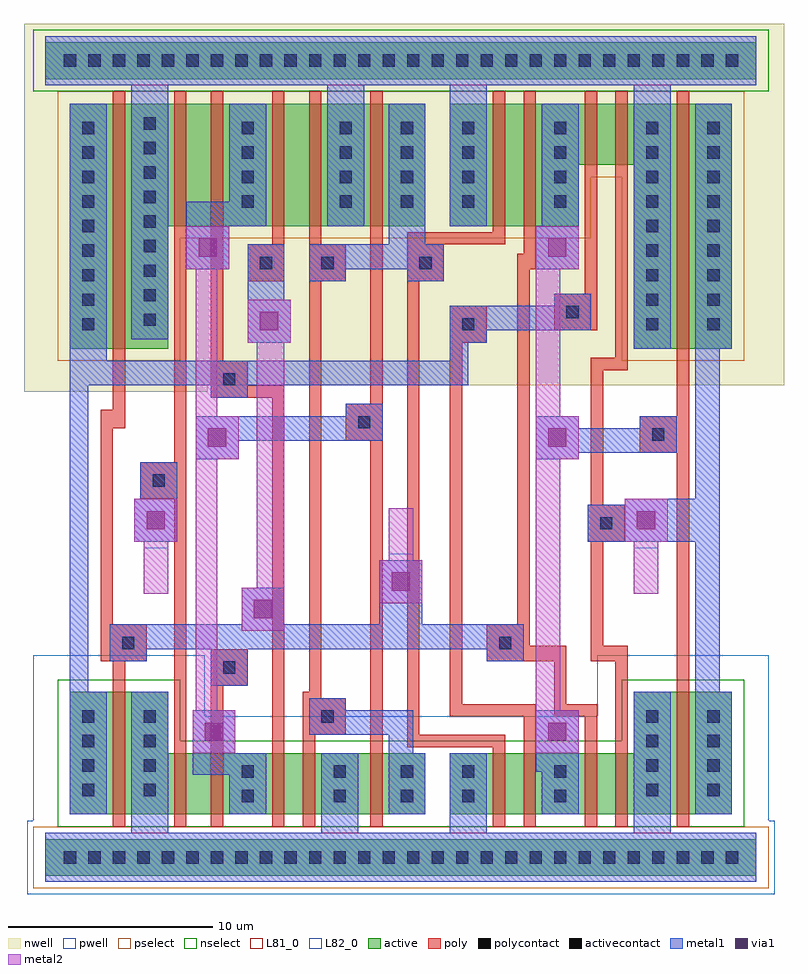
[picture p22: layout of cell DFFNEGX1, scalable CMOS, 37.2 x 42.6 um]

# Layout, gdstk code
import gdstk
lib = gdstk.Library(unit=1e-6, precision=1e-09)
def R(c, l, rs):  # rectangles x0, y0, x1, y1
    for r in rs: c.add(gdstk.rectangle(r[:2], r[2:], *l))
def A(c, l, x, y, w, h, nx, ny, dx, dy):  # array of equal rectangles
    R(c, l, [(x+i*dx, y+j*dy, x+i*dx+w, y+j*dy+h) for i in range(nx) for j in range(ny)])
pwell = (41, 0)
nwell = (42, 0)
active = (43, 0)
pselect = (44, 0)
nselect = (45, 0)
poly = (46, 0)
polycontact = (47, 0)
activecontact = (48, 0)
metal1 = (49, 0)
via1 = (50, 0)
metal2 = (51, 0)
L81_0 = (81, 0)
L82_0 = (82, 0)

dffnegx1 = lib.new_cell('DFFNEGX1')
R(dffnegx1, pwell, [(-1.8,-1.8,34.8,1.8), (-1.5,1.8,34.5,6.9), (-1.5,6.9,6.9,9.9), (26.1,6.9,34.5,9.9)])
R(dffnegx1, nwell, [(-1.95,22.8,7.05,23.1), (-1.95,23.1,35.25,40.8)])
R(dffnegx1, active, [(-0.9,-0.9,33.9,0.9), (0.3,2.1,17.7,5.1), (18.9,2.1,32.7,5.1), (0.3,5.1,5.1,8.1), (27.9,5.1,32.7,8.1), (0.3,24.9,5.1,30.9), (27.9,24.9,32.7,33.9), (0.3,30.9,17.7,36.9), (18.9,30.9,25.2,33.9), (18.9,33.9,32.7,36.9), (-0.9,38.1,33.9,39.9)])
R(dffnegx1, pselect, [(-1.5,-1.5,34.5,1.5), (-0.3,24.3,5.7,30.3), (27.3,24.3,33.3,33.3), (-0.3,30.3,25.8,33.3), (-0.3,33.3,33.3,37.5)])
R(dffnegx1, nselect, [(-0.3,1.5,33.3,5.7), (-0.3,5.7,5.7,8.7), (27.3,5.7,33.3,8.7), (-1.5,37.5,34.5,40.5)])
R(dffnegx1, poly, [(2.4,1.5,3,9.6), (5.4,1.5,6,17.55), (7.2,1.5,7.8,8.4), (10.2,1.5,10.8,22.5), (11.7,1.5,12.3,6), (15,1.5,15.6,20.4), (21,1.5,21.6,5.4), (22.5,1.5,23.1,6.9), (25.5,1.5,26.1,6.9), (27,1.5,27.6,9.6), (30,1.5,30.6,19.8), (16.8,5.4,21.6,6), (11.7,6,13.8,7.8), (16.8,6,17.4,28.2), (18.9,6.9,23.1,7.5), (24,6.9,26.1,7.5), (18.9,7.5,19.5,25.2), (24,7.5,24.6,9.6), (11.7,7.8,12.6,8.1), (12,8.1,12.6,28.2), (7.2,8.4,9,10.2), (1.8,9.6,4.05,11.4), (20.7,9.6,24.6,10.35), (25.8,9.6,27.6,10.35), (20.7,10.35,22.8,11.4), (25.8,10.35,26.4,15.45), (1.8,11.4,2.4,21), (22.2,11.4,22.8,28.8), (25.65,15.45,27.45,17.25), (25.8,17.25,26.4,23.85), (3.75,17.55,6,19.35), (5.4,19.35,6,37.5), (28.2,19.8,30.6,21.6), (13.8,20.4,15.6,22.2), (1.8,21,3,21.9), (30,21.6,30.6,37.5), (2.4,21.9,3,37.5), (15,22.2,15.6,37.5), (7.2,22.5,10.8,23.1), (7.2,23.1,9,24.3), (25.8,23.85,27.6,24.45), (7.2,24.3,7.8,37.5), (27,24.45,27.6,37.5), (18.9,25.2,20.7,27), (24,25.8,26.1,27.6), (25.5,27.6,26.1,37.5), (9,28.2,10.8,30), (12,28.2,13.8,30), (16.8,28.2,18.6,30), (22.2,28.8,23.1,29.55), (22.5,29.55,23.1,37.5), (10.2,30,10.8,37.5), (12,30,12.6,37.5), (16.8,30,21.6,30.6), (21,30.6,21.6,37.5)])
R(dffnegx1, polycontact, [(12.6,6.6,13.2,7.2), (7.8,9,8.4,9.6), (2.85,10.2,3.45,10.8), (21.3,10.2,21.9,10.8), (26.25,16.05,26.85,16.65), (4.35,18.15,4.95,18.75), (28.8,20.4,29.4,21), (14.4,21,15,21.6), (7.8,23.1,8.4,23.7), (19.5,25.8,20.1,26.4), (24.6,26.4,25.2,27), (9.6,28.8,10.2,29.4), (12.6,28.8,13.2,29.4), (17.4,28.8,18,29.4)])
A(dffnegx1, activecontact, 0, -0.3, 0.6, 0.6, 28, 2, 1.2, 39)
A(dffnegx1, activecontact, 0.9, 3, 0.6, 0.6, 1, 4, 0, 1.2)
A(dffnegx1, activecontact, 3.9, 3, 0.6, 0.6, 1, 4, 0, 1.2)
A(dffnegx1, activecontact, 28.5, 3, 0.6, 0.6, 1, 4, 0, 1.2)
A(dffnegx1, activecontact, 31.5, 3, 0.6, 0.6, 1, 4, 0, 1.2)
A(dffnegx1, activecontact, 0.9, 25.8, 0.6, 0.6, 1, 9, 0, 1.2)
A(dffnegx1, activecontact, 28.5, 25.8, 0.6, 0.6, 1, 9, 0, 1.2)
A(dffnegx1, activecontact, 31.5, 25.8, 0.6, 0.6, 1, 9, 0, 1.2)
A(dffnegx1, activecontact, 3.9, 26.02, 0.6, 0.6, 1, 9, 0, 1.2)
A(dffnegx1, activecontact, 8.7, 31.8, 0.6, 0.6, 1, 4, 0, 1.2)
A(dffnegx1, activecontact, 13.5, 31.8, 0.6, 0.6, 3, 4, 3, 1.2)
A(dffnegx1, activecontact, 24, 31.8, 0.6, 0.6, 1, 4, 0, 1.2)
R(dffnegx1, activecontact, [(8.7,2.7,9.3,3.3), (13.2,2.7,13.8,3.3), (16.5,2.7,17.1,3.3), (19.5,2.7,20.1,3.3), (24,2.7,24.6,3.3), (8.7,3.9,9.3,4.5), (13.2,3.9,13.8,4.5), (16.5,3.9,17.1,4.5), (19.5,3.9,20.1,4.5), (24,3.9,24.6,4.5)])
R(dffnegx1, metal1, [(-0.9,-1.2,33.9,1.2), (3.3,1.2,5.1,8.1), (12.6,1.2,14.4,5.1), (18.9,1.2,20.7,5.1), (27.9,1.2,29.7,8.1), (0.3,2.1,2.1,8.1), (8.1,2.1,9.9,4.05), (15.9,2.1,17.7,5.1), (23.4,2.1,25.2,4.2), (30.9,2.1,32.7,8.1), (6.3,4.05,9.9,5.1), (23.1,4.2,25.2,7.2), (6.3,5.1,8.4,7.2), (15.9,5.1,17.1,6), (12,6,17.1,7.2), (12,7.2,13.8,7.8), (0.3,8.1,1.2,23.1), (30.9,8.1,32.1,15.45), (7.2,8.4,9,10.2), (2.25,9.6,4.05,10.2), (20.7,9.6,22.5,10.2), (2.25,10.2,22.5,11.4), (8.7,11.4,10.8,13.2), (15.45,11.4,17.55,14.55), (3.45,15.45,5.55,17.55), (25.65,15.45,32.1,17.25), (27.45,17.25,32.1,17.55), (3.75,17.55,5.55,19.35), (30.9,17.55,32.1,24.9), (6.45,19.5,8.55,20.4), (23.1,19.5,25.2,19.8), (23.1,19.8,30,21), (6.45,20.4,15.6,21.6), (23.1,21,25.2,21.6), (28.2,21,30,21.6), (13.8,21.6,15.6,22.2), (7.2,22.5,9,23.1), (0.3,23.1,19.8,24.3), (0.3,24.3,2.1,36.9), (18.9,24.3,19.8,25.2), (27.9,24.9,29.7,37.8), (30.9,24.9,32.7,36.9), (9,25.2,11.1,27.3), (18.9,25.2,20.7,25.8), (3.3,25.35,5.1,37.8), (18.9,25.8,25.8,27), (24,27,25.8,27.6), (9,27.3,10.8,30), (12,28.2,13.8,28.8), (16.8,28.2,18.6,28.8), (6,28.8,8.1,30.9), (12,28.8,18.6,30), (23.1,28.8,25.2,30.9), (15.9,30,17.7,36.9), (6,30.9,9.9,32.1), (12.9,30.9,14.7,37.8), (18.9,30.9,20.7,37.8), (23.4,30.9,25.2,36.9), (8.1,32.1,9.9,36.9), (-0.9,37.8,33.9,40.2)])
R(dffnegx1, via1, [(6.9,5.7,7.8,6.6), (23.7,5.7,24.6,6.6), (9.3,11.7,10.2,12.6), (16.05,13.05,16.95,13.95), (4.05,16.05,4.95,16.95), (28.05,16.05,28.95,16.95), (7.05,20.1,7.95,21), (23.7,20.1,24.6,21), (9.6,25.8,10.5,26.7), (6.6,29.4,7.5,30.3), (23.7,29.4,24.6,30.3)])
R(dffnegx1, metal2, [(6.3,5.1,8.4,7.2), (23.1,5.1,25.2,7.2), (6.45,7.2,7.5,19.5), (23.1,7.2,24.3,19.5), (8.7,11.1,10.8,13.2), (15.45,12.45,17.55,14.55), (3.9,12.9,5.1,15.45), (27.9,12.9,29.1,15.45), (9.45,13.2,10.8,25.2), (15.9,14.55,17.1,17.1), (3.45,15.45,5.55,17.55), (27.45,15.45,29.55,17.55), (6.45,19.5,8.55,21.6), (23.1,19.5,25.2,21.6), (6.45,21.6,7.5,28.8), (23.1,21.6,24.3,28.8), (9,25.2,11.1,27.3), (6,28.8,8.1,30.9), (23.1,28.8,25.2,30.9)])
R(dffnegx1, L81_0, [(-0.9,-1.2,33.9,1.2), (-0.9,37.8,33.9,40.2)])
R(dffnegx1, L82_0, [(3.9,12.9,5.1,15.15), (27.9,12.9,29.1,15.15), (15.9,14.85,17.1,17.1)])

lib.write_gds('DFFNEGX1.gds')
